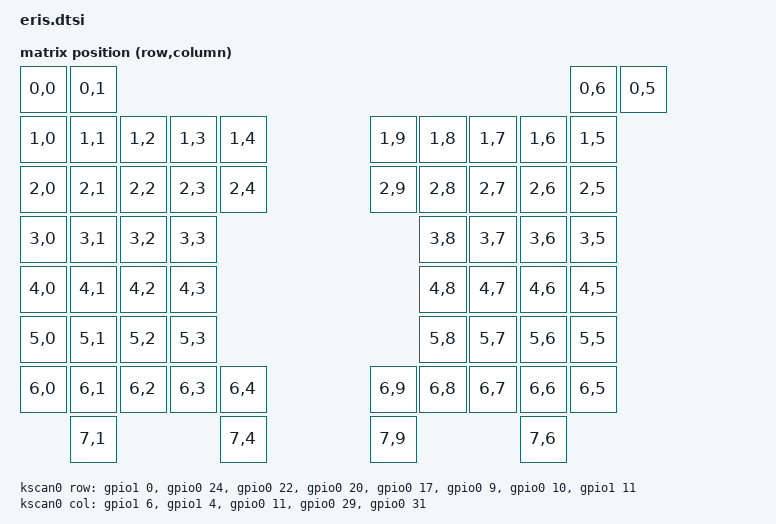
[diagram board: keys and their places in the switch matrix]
/*
 * Eris BLE split keyboard — shared devicetree for both halves.
 *
 * Controller: TENSTAR ROBOT nRF52840 "SuperMini" (red variant),
 * flashed with the nice_nano_v2 board target.
 *
 * IMPORTANT — why raw &gpioX Y references instead of &pro_micro N:
 * ZMK's nice_nano pro_micro map defines pin 14 -> P1.11 and pin 16 -> P0.10
 * (the genuine nice!nano v2 routing). The TENSTAR SuperMini instead exposes
 * the pins it labels D14 and D16 on P1.01 and P1.02. Using "&pro_micro 14/16"
 * on this board would therefore drive the wrong physical pins and rows 7-8
 * would be dead. Raw GPIO references remove that ambiguity for every pin.
 *
 * Pin map (identical wiring on both halves; TENSTAR labels -> nRF ports):
 *   ROW1 = D6  = P1.00      COL1 = D9  = P1.06
 *   ROW2 = D5  = P0.24      COL2 = D8  = P1.04
 *   ROW3 = D4  = P0.22      COL3 = D7  = P0.11
 *   ROW4 = D3  = P0.20      COL4 = D20 = P0.29
 *   ROW5 = D2  = P0.17      COL5 = D21 = P0.31
 *   ROW6 = D10 = P0.09
 *   ROW7 = D16 = P1.02   <- differs from nice!nano v2 map
 *   ROW8 = D14 = P1.01   <- differs from nice!nano v2 map
 */

#include <dt-bindings/zmk/matrix_transform.h>

/ {
    chosen {
        zmk,physical-layout = &physical_layout0;
    };

    physical_layout0: physical_layout_0 {
        compatible = "zmk,physical-layout";
        display-name = "Default Layout";
        kscan = <&kscan0>;
        transform = <&default_transform>;
    };

    /*
     * Full split transform: 8 rows x 10 columns.
     * Columns 0-4 = left half, columns 5-9 = right half
     * (the right overlay applies col-offset = 5).
     *
     * The right PCB is a mirror of the left with the SAME electrical
     * column numbering, so electrical COL1 is the OUTERMOST column on
     * both halves. Reading the right half left-to-right (inner -> outer)
     * therefore means its columns appear in reverse order: 9,8,7,6,5.
     * If your right half comes out horizontally flipped when testing,
     * simply reverse the right-side column order in each row below.
     *
     * 31 keys per half, 62 total.
     */
    default_transform: keymap_transform0 {
        compatible = "zmk,matrix-transform";
        columns = <10>;
        rows = <8>;
        map = <
RC(0,0) RC(0,1)                                                                         RC(0,6) RC(0,5)
RC(1,0) RC(1,1) RC(1,2) RC(1,3) RC(1,4)                 RC(1,9) RC(1,8) RC(1,7) RC(1,6) RC(1,5)
RC(2,0) RC(2,1) RC(2,2) RC(2,3) RC(2,4)                 RC(2,9) RC(2,8) RC(2,7) RC(2,6) RC(2,5)
RC(3,0) RC(3,1) RC(3,2) RC(3,3)                                 RC(3,8) RC(3,7) RC(3,6) RC(3,5)
RC(4,0) RC(4,1) RC(4,2) RC(4,3)                                 RC(4,8) RC(4,7) RC(4,6) RC(4,5)
RC(5,0) RC(5,1) RC(5,2) RC(5,3)                                 RC(5,8) RC(5,7) RC(5,6) RC(5,5)
RC(6,0) RC(6,1) RC(6,2) RC(6,3) RC(6,4)                 RC(6,9) RC(6,8) RC(6,7) RC(6,6) RC(6,5)
        RC(7,1)                 RC(7,4)                 RC(7,9)                 RC(7,6)
        >;
    };

    kscan0: kscan0 {
        compatible = "zmk,kscan-gpio-matrix";
        diode-direction = "col2row";
        wakeup-source;

        row-gpios
            = <&gpio1 0  (GPIO_ACTIVE_HIGH | GPIO_PULL_DOWN)>   /* ROW1  D6   P1.00 */
            , <&gpio0 24 (GPIO_ACTIVE_HIGH | GPIO_PULL_DOWN)>   /* ROW2  D5   P0.24 */
            , <&gpio0 22 (GPIO_ACTIVE_HIGH | GPIO_PULL_DOWN)>   /* ROW3  D4   P0.22 */
            , <&gpio0 20 (GPIO_ACTIVE_HIGH | GPIO_PULL_DOWN)>   /* ROW4  D3   P0.20 */
            , <&gpio0 17 (GPIO_ACTIVE_HIGH | GPIO_PULL_DOWN)>   /* ROW5  D2   P0.17 */
            , <&gpio0 9  (GPIO_ACTIVE_HIGH | GPIO_PULL_DOWN)>   /* ROW6  D10  P0.09 */
            , <&gpio0 10 (GPIO_ACTIVE_HIGH | GPIO_PULL_DOWN)>   /* ROW7  D16  P0.10 */
            , <&gpio1 11 (GPIO_ACTIVE_HIGH | GPIO_PULL_DOWN)>   /* ROW8  D14  P1.11 */
            ;

        col-gpios
            = <&gpio1 6  GPIO_ACTIVE_HIGH>                      /* COL1  D9   P1.06 */
            , <&gpio1 4  GPIO_ACTIVE_HIGH>                      /* COL2  D8   P1.04 */
            , <&gpio0 11 GPIO_ACTIVE_HIGH>                      /* COL3  D7   P0.11 */
            , <&gpio0 29 GPIO_ACTIVE_HIGH>                      /* COL4  D20  P0.29 */
            , <&gpio0 31 GPIO_ACTIVE_HIGH>                      /* COL5  D21  P0.31 */
            ;
    };
};
